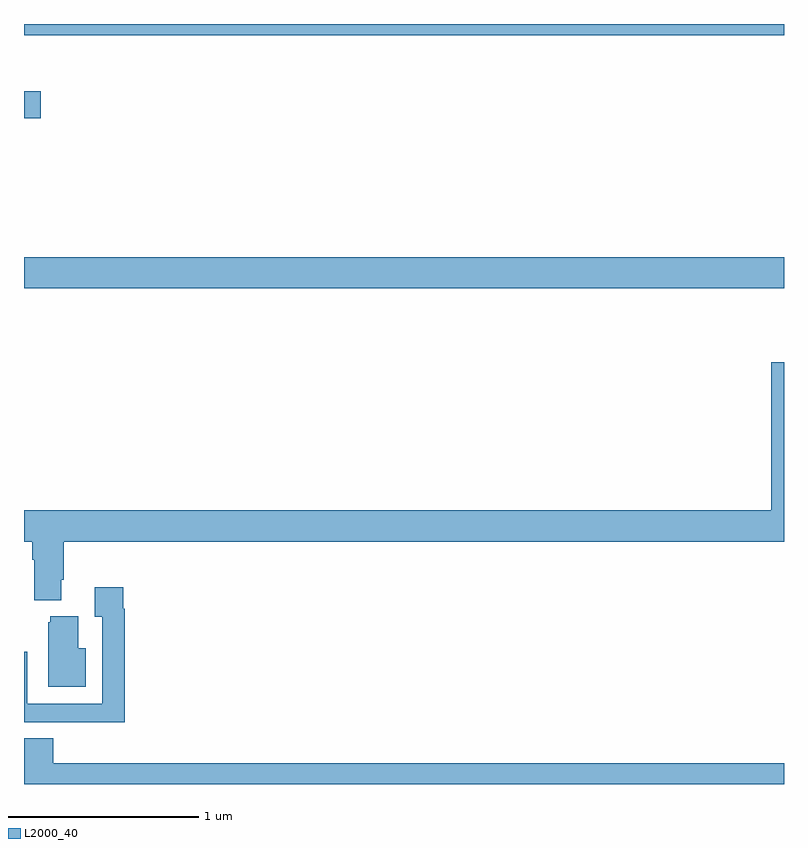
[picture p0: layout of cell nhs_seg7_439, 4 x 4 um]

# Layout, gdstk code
import gdstk
lib = gdstk.Library(unit=1e-6, precision=1e-09)
def R(c, l, rs):  # rectangles x0, y0, x1, y1
    for r in rs: c.add(gdstk.rectangle(r[:2], r[2:], *l))
def P(c, l, *ps):  # polygons
    for p in ps: c.add(gdstk.Polygon(p, *l))
L2000_40 = (2000, 40)

nhs_seg7_439 = lib.new_cell('nhs_seg7_439')
R(nhs_seg7_439, L2000_40, [(145,1008.608,149,1008.772), (145,1009.505,145.087,1009.647), (145,1009.94,149,1010)])
P(nhs_seg7_439, L2000_40, [(145.195,1007.074),(145.208,1007.074),(145.208,1007.276),(149,1007.276),(149,1008.22),(148.934,1008.22),(148.934,1007.44),(145,1007.44),(145,1007.276),(145.043,1007.276),(145.043,1007.18),(145.055,1007.18),(145.055,1006.967),(145.195,1006.967)],
  [(145.529,1006.922),(145.522,1006.922),(145.522,1007.035),(145.373,1007.035),(145.373,1006.879),(145.413,1006.879),(145.413,1006.422),(145.017,1006.422),(145.017,1006.696),(145,1006.696),(145,1006.326),(145.237,1006.326),(145.237,1006.325),(145.529,1006.325)],
  [(145.324,1006.714),(145.285,1006.714),(145.285,1006.882),(145.139,1006.882),(145.139,1006.851),(145.127,1006.851),(145.127,1006.511),(145.324,1006.511)],
  [(149,1006.108),(145.154,1006.108),(145.154,1006.241),(145,1006.241),(145,1006),(149,1006)])

lib.write_gds('nhs_seg7_439.gds')
